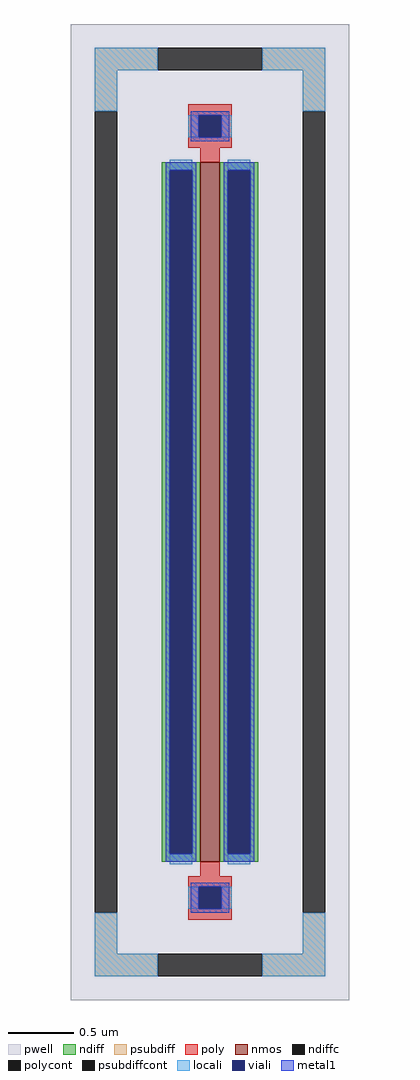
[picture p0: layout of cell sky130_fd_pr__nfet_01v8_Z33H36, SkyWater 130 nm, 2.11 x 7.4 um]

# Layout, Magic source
magic
tech sky130A
magscale 1 2
<< pwell >>
rect -211 -740 211 740
<< nmos >>
rect -15 -530 15 530
<< ndiff >>
rect -73 518 -15 530
rect -73 -518 -61 518
rect -27 -518 -15 518
rect -73 -530 -15 -518
rect 15 518 73 530
rect 15 -518 27 518
rect 61 -518 73 518
rect 15 -530 73 -518
<< ndiffc >>
rect -61 -518 -27 518
rect 27 -518 61 518
<< psubdiff >>
rect -175 670 -79 704
rect 79 670 175 704
rect -175 608 -141 670
rect 141 608 175 670
rect -175 -670 -141 -608
rect 141 -670 175 -608
rect -175 -704 -79 -670
rect 79 -704 175 -670
<< psubdiffcont >>
rect -79 670 79 704
rect -175 -608 -141 608
rect 141 -608 175 608
rect -79 -704 79 -670
<< poly >>
rect -33 602 33 618
rect -33 568 -17 602
rect 17 568 33 602
rect -33 552 33 568
rect -15 530 15 552
rect -15 -552 15 -530
rect -33 -568 33 -552
rect -33 -602 -17 -568
rect 17 -602 33 -568
rect -33 -618 33 -602
<< polycont >>
rect -17 568 17 602
rect -17 -602 17 -568
<< locali >>
rect -175 670 -79 704
rect 79 670 175 704
rect -175 608 -141 670
rect 141 608 175 670
rect -33 568 -17 602
rect 17 568 33 602
rect -61 518 -27 534
rect -61 -534 -27 -518
rect 27 518 61 534
rect 27 -534 61 -518
rect -33 -602 -17 -568
rect 17 -602 33 -568
rect -175 -670 -141 -608
rect 141 -670 175 -608
rect -175 -704 -79 -670
rect 79 -704 175 -670
<< viali >>
rect -17 568 17 602
rect -61 -518 -27 518
rect 27 -518 61 518
rect -17 -602 17 -568
<< metal1 >>
rect -29 602 29 608
rect -29 568 -17 602
rect 17 568 29 602
rect -29 562 29 568
rect -67 518 -21 530
rect -67 -518 -61 518
rect -27 -518 -21 518
rect -67 -530 -21 -518
rect 21 518 67 530
rect 21 -518 27 518
rect 61 -518 67 518
rect 21 -530 67 -518
rect -29 -568 29 -562
rect -29 -602 -17 -568
rect 17 -602 29 -568
rect -29 -608 29 -602
<< properties >>
string FIXED_BBOX -158 -687 158 687
string gencell sky130_fd_pr__nfet_01v8
string library sky130
string parameters w 5.3 l 0.150 m 1 nf 1 diffcov 100 polycov 100 guard 1 glc 1 grc 1 gtc 1 gbc 1 tbcov 100 rlcov 100 topc 1 botc 1 poverlap 0 doverlap 1 lmin 0.15 wmin 0.42 compatible {sky130_fd_pr__nfet_01v8 sky130_fd_pr__nfet_01v8_lvt  sky130_fd_bs_flash__special_sonosfet_star  sky130_fd_pr__nfet_g5v0d10v5 sky130_fd_pr__nfet_05v0_nvt  sky130_fd_pr__nfet_03v3_nvt} full_metal 1 viasrc 100 viadrn 100 viagate 100 viagb 0 viagr 0 viagl 0 viagt 0
<< end >>
